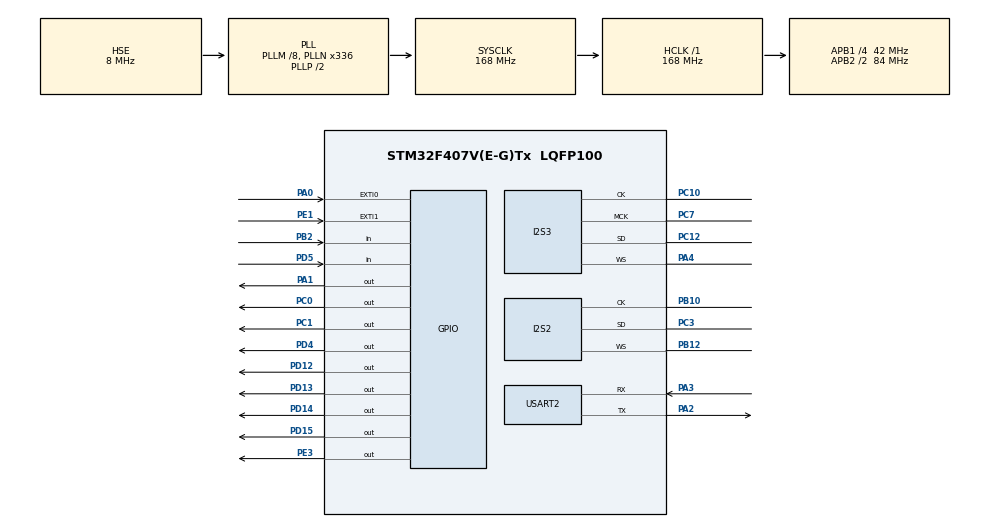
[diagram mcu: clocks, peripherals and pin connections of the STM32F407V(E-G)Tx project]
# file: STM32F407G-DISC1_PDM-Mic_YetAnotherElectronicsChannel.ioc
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Dma.Request0=SPI3_TX
Dma.Request1=SPI2_RX
Dma.SPI2_RX.1.Direction=DMA_PERIPH_TO_MEMORY
Dma.SPI2_RX.1.FIFOMode=DMA_FIFOMODE_DISABLE
Dma.SPI2_RX.1.Instance=DMA1_Stream3
Dma.SPI2_RX.1.MemDataAlignment=DMA_MDATAALIGN_HALFWORD
Dma.SPI2_RX.1.MemInc=DMA_MINC_ENABLE
Dma.SPI2_RX.1.Mode=DMA_CIRCULAR
Dma.SPI2_RX.1.PeriphDataAlignment=DMA_PDATAALIGN_HALFWORD
Dma.SPI2_RX.1.PeriphInc=DMA_PINC_DISABLE
Dma.SPI2_RX.1.Priority=DMA_PRIORITY_LOW
Dma.SPI3_TX.0.Direction=DMA_MEMORY_TO_PERIPH
Dma.SPI3_TX.0.FIFOMode=DMA_FIFOMODE_DISABLE
Dma.SPI3_TX.0.Instance=DMA1_Stream5
Dma.SPI3_TX.0.MemDataAlignment=DMA_MDATAALIGN_WORD
Dma.SPI3_TX.0.MemInc=DMA_MINC_ENABLE
Dma.SPI3_TX.0.Mode=DMA_CIRCULAR
Dma.SPI3_TX.0.PeriphDataAlignment=DMA_PDATAALIGN_WORD
Dma.SPI3_TX.0.PeriphInc=DMA_PINC_DISABLE
Dma.SPI3_TX.0.Priority=DMA_PRIORITY_LOW
I2S2.AudioFreq=I2S_AUDIOFREQ_48K
I2S2.DataFormat=I2S_DATAFORMAT_32B
I2S2.ErrorAudioFreq=0.8 %
I2S2.FullDuplexMode=I2S_FULLDUPLEXMODE_DISABLE
I2S2.Instance=SPI$Index
I2S2.Mode=I2S_MODE_SLAVE_RX
I2S2.RealAudioFreq=48.387 KHz
I2S2.Standard=I2S_STANDARD_MSB
I2S2.VirtualMode=I2S_MODE_SLAVE
I2S3.AudioFreq=I2S_AUDIOFREQ_48K
I2S3.DataFormat=I2S_DATAFORMAT_24B
I2S3.ErrorAudioFreq=-2.34 %
I2S3.FullDuplexMode=I2S_FULLDUPLEXMODE_DISABLE
I2S3.Instance=SPI$Index
I2S3.RealAudioFreq=46.875 KHz
I2S3.VirtualMode=I2S_MODE_MASTER
Mcu.Family=STM32F4
Mcu.Name=STM32F407V(E-G)Tx
Mcu.Package=LQFP100
NVIC.DMA1_Stream3_IRQn=true\:0\:0\:false\:false\:true\:false\:true\:true
NVIC.DMA1_Stream5_IRQn=true\:0\:0\:false\:false\:true\:false\:true\:true
NVIC.PriorityGroup=NVIC_PRIORITYGROUP_0
PA0-WKUP.GPIO_ModeDefaultEXTI=GPIO_MODE_IT_RISING
PA0-WKUP.GPIO_PuPd=GPIO_NOPULL
PA0-WKUP.Signal=GPXTI0
PA1.GPIO_Speed=GPIO_SPEED_FREQ_HIGH
PA1.Signal=GPIO_Output
PA10.GPIO_Mode=GPIO_MODE_AF_PP
PA10.GPIO_PuPd=GPIO_NOPULL
PA10.GPIO_Speed=GPIO_SPEED_FREQ_VERY_HIGH
PA10.Signal=USB_OTG_FS_ID
PA11.GPIO_Mode=GPIO_MODE_AF_PP
PA11.GPIO_PuPd=GPIO_NOPULL
PA11.GPIO_Speed=GPIO_SPEED_FREQ_VERY_HIGH
PA11.Signal=USB_OTG_FS_DM
PA12.GPIO_Mode=GPIO_MODE_AF_PP
PA12.GPIO_PuPd=GPIO_NOPULL
PA12.GPIO_Speed=GPIO_SPEED_FREQ_VERY_HIGH
PA12.Signal=USB_OTG_FS_DP
PA13.Mode=Serial_Wire
PA13.Signal=SYS_JTMS-SWDIO
PA14.Mode=Serial_Wire
PA14.Signal=SYS_JTCK-SWCLK
PA2.Mode=Asynchronous
PA2.Signal=USART2_TX
PA3.Mode=Asynchronous
PA3.Signal=USART2_RX
PA4.GPIO_Mode=GPIO_MODE_AF_PP
PA4.GPIO_PuPd=GPIO_NOPULL
PA4.GPIO_Speed=GPIO_SPEED_FREQ_LOW
PA4.Mode=Half_Duplex_Master
PA4.Signal=I2S3_WS
PA5.GPIO_Mode=GPIO_MODE_AF_PP
PA5.GPIO_PuPd=GPIO_NOPULL
PA5.GPIO_Speed=GPIO_SPEED_FREQ_VERY_HIGH
PA5.Signal=SPI1_SCK
PA6.GPIO_Mode=GPIO_MODE_AF_PP
PA6.GPIO_PuPd=GPIO_NOPULL
PA6.GPIO_Speed=GPIO_SPEED_FREQ_VERY_HIGH
PA6.Signal=SPI1_MISO
PA7.GPIO_Mode=GPIO_MODE_AF_PP
PA7.GPIO_PuPd=GPIO_NOPULL
PA7.GPIO_Speed=GPIO_SPEED_FREQ_VERY_HIGH
PA7.Signal=SPI1_MOSI
PA9.GPIO_Mode=GPIO_MODE_INPUT
PA9.GPIO_PuPd=GPIO_NOPULL
PA9.Signal=USB_OTG_FS_VBUS
PB10.GPIO_Mode=GPIO_MODE_AF_PP
PB10.GPIO_PuPd=GPIO_NOPULL
PB10.GPIO_Speed=GPIO_SPEED_FREQ_LOW
PB10.Mode=Half_Duplex_Slave
PB10.Signal=I2S2_CK
PB12.Mode=Half_Duplex_Slave
PB12.Signal=I2S2_WS
PB2.GPIO_Mode=GPIO_MODE_INPUT
PB2.GPIO_PuPd=GPIO_NOPULL
PB2.Signal=GPIO_Input
PB3.Signal=SYS_JTDO-SWO
PB6.GPIO_Mode=GPIO_MODE_AF_OD
PB6.GPIO_PuPd=GPIO_NOPULL
PB6.GPIO_PuPdOD=GPIO_PULLUP
PB6.GPIO_Speed=GPIO_SPEED_FREQ_VERY_HIGH
PB6.Signal=I2C1_SCL
PB9.GPIO_Mode=GPIO_MODE_AF_OD
PB9.GPIO_PuPd=GPIO_NOPULL
PB9.GPIO_PuPdOD=GPIO_PULLUP
PB9.GPIO_Speed=GPIO_SPEED_FREQ_VERY_HIGH
PB9.Signal=I2C1_SDA
PC0.GPIO_ModeDefaultOutputPP=GPIO_MODE_OUTPUT_PP
PC0.GPIO_PuPd=GPIO_NOPULL
PC0.GPIO_Speed=GPIO_SPEED_FREQ_LOW
PC0.PinState=GPIO_PIN_RESET
PC0.Signal=GPIO_Output
PC1.GPIO_Speed=GPIO_SPEED_FREQ_HIGH
PC1.PinState=GPIO_PIN_SET
PC1.Signal=GPIO_Output
PC10.GPIO_Mode=GPIO_MODE_AF_PP
PC10.GPIO_PuPd=GPIO_NOPULL
PC10.GPIO_Speed=GPIO_SPEED_FREQ_LOW
PC10.Mode=Half_Duplex_Master
PC10.Signal=I2S3_CK
PC12.GPIO_Mode=GPIO_MODE_AF_PP
PC12.GPIO_PuPd=GPIO_NOPULL
PC12.GPIO_Speed=GPIO_SPEED_FREQ_LOW
PC12.Mode=Half_Duplex_Master
PC12.Signal=I2S3_SD
PC14-OSC32_IN.Mode=LSE-External-Oscillator
PC14-OSC32_IN.Signal=RCC_OSC32_IN
PC15-OSC32_OUT.Mode=LSE-External-Oscillator
PC15-OSC32_OUT.Signal=RCC_OSC32_OUT
PC3.GPIO_Mode=GPIO_MODE_AF_PP
PC3.GPIO_PuPd=GPIO_NOPULL
PC3.GPIO_Speed=GPIO_SPEED_FREQ_LOW
PC3.Mode=Half_Duplex_Slave
PC3.Signal=I2S2_SD
PC7.GPIO_Mode=GPIO_MODE_AF_PP
PC7.GPIO_PuPd=GPIO_NOPULL
PC7.GPIO_Speed=GPIO_SPEED_FREQ_LOW
PC7.Mode=Master_Clock_Activated
PC7.Signal=I2S3_MCK
PD12.GPIO_ModeDefaultOutputPP=GPIO_MODE_OUTPUT_PP
PD12.GPIO_PuPd=GPIO_NOPULL
PD12.GPIO_Speed=GPIO_SPEED_FREQ_LOW
PD12.PinState=GPIO_PIN_RESET
PD12.Signal=GPIO_Output
PD13.GPIO_ModeDefaultOutputPP=GPIO_MODE_OUTPUT_PP
PD13.GPIO_PuPd=GPIO_NOPULL
PD13.GPIO_Speed=GPIO_SPEED_FREQ_LOW
PD13.PinState=GPIO_PIN_RESET
PD13.Signal=GPIO_Output
PD14.GPIO_ModeDefaultOutputPP=GPIO_MODE_OUTPUT_PP
PD14.GPIO_PuPd=GPIO_NOPULL
PD14.GPIO_Speed=GPIO_SPEED_FREQ_LOW
PD14.PinState=GPIO_PIN_RESET
PD14.Signal=GPIO_Output
PD15.GPIO_ModeDefaultOutputPP=GPIO_MODE_OUTPUT_PP
PD15.GPIO_PuPd=GPIO_NOPULL
PD15.GPIO_Speed=GPIO_SPEED_FREQ_LOW
PD15.PinState=GPIO_PIN_RESET
PD15.Signal=GPIO_Output
PD4.GPIO_ModeDefaultOutputPP=GPIO_MODE_OUTPUT_PP
PD4.GPIO_PuPd=GPIO_NOPULL
PD4.GPIO_Speed=GPIO_SPEED_FREQ_LOW
PD4.PinState=GPIO_PIN_RESET
PD4.Signal=GPIO_Output
PD5.GPIO_Mode=GPIO_MODE_INPUT
PD5.GPIO_PuPd=GPIO_NOPULL
PD5.Signal=GPIO_Input
PDM2PCM.CHANNEL1_bit_order=PDM_FILTER_BIT_ORDER_LSB
PDM2PCM.CHANNEL1_decimation_factor=PDM_FILTER_DEC_FACTOR_64
PDM2PCM.CHANNEL1_in_ptr_channels=1
PDM2PCM.CHANNEL1_mic_gain=24
PDM2PCM.CHANNEL1_out_ptr_channels=1
PE1.GPIO_ModeDefaultEXTI=GPIO_MODE_IT_RISING
PE1.GPIO_PuPd=GPIO_NOPULL
PE1.Signal=GPXTI1
PE3.GPIO_ModeDefaultOutputPP=GPIO_MODE_OUTPUT_PP
PE3.GPIO_PuPd=GPIO_NOPULL
PE3.GPIO_Speed=GPIO_SPEED_FREQ_LOW
PE3.PinState=GPIO_PIN_RESET
PE3.Signal=GPIO_Output
PH0-OSC_IN.Mode=HSE-External-Oscillator
PH0-OSC_IN.Signal=RCC_OSC_IN
PH1-OSC_OUT.Mode=HSE-External-Oscillator
PH1-OSC_OUT.Signal=RCC_OSC_OUT
ProjectManager.HeapSize=0x200
ProjectManager.StackSize=0x400
ProjectManager.TargetToolchain=STM32CubeIDE
RCC.48MHZClocksFreq_Value=48000000
RCC.AHBFreq_Value=168000000
RCC.APB1CLKDivider=RCC_HCLK_DIV4
RCC.APB1Freq_Value=42000000
RCC.APB1TimFreq_Value=84000000
RCC.APB2CLKDivider=RCC_HCLK_DIV2
RCC.APB2Freq_Value=84000000
RCC.APB2TimFreq_Value=168000000
RCC.CortexFreq_Value=168000000
RCC.HCLKFreq_Value=168000000
RCC.HSE_VALUE=8000000
RCC.HSI_VALUE=16000000
RCC.PLLM=8
RCC.PLLN=336
RCC.PLLQ=7
RCC.PLLSourceVirtual=RCC_PLLSOURCE_HSE
RCC.SYSCLKFreq_VALUE=168000000
RCC.SYSCLKSource=RCC_SYSCLKSOURCE_PLLCLK
RCC.VCOOutputFreq_Value=336000000
USART2.VirtualMode=VM_ASYNC
VP_CRC_VS_CRC.Mode=CRC_Activate
VP_PDM2PCM_VS_PDM2PCM.Mode=PDM2PCM_Channel
board=STM32F4DISCOVERY

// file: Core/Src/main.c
/* USER CODE BEGIN Header */
/**
 ******************************************************************************
 * @file           : main.c
 * @brief          : Main program body
 ******************************************************************************
 * @attention
 *
 * Copyright (c) 2022 STMicroelectronics.
 * All rights reserved.
 *
 * This software is licensed under terms that can be found in the LICENSE file
 * in the root directory of this software component.
 * If no LICENSE file comes with this software, it is provided AS-IS.
 *
 ******************************************************************************
 */
/* USER CODE END Header */
#include "main.h"
#include "pdm2pcm.h"

/* USER CODE BEGIN Includes */

#include <stdio.h>

/* USER CODE END Includes */

CRC_HandleTypeDef hcrc;

I2S_HandleTypeDef hi2s2;
I2S_HandleTypeDef hi2s3;
DMA_HandleTypeDef hdma_spi2_rx;
DMA_HandleTypeDef hdma_spi3_tx;

UART_HandleTypeDef huart2;

/* USER CODE BEGIN PV */

uint32_t txBuf[128];
uint16_t pdmRxBuf[128];
uint16_t MidBuffer[16];
uint8_t txstate = 0;
uint8_t rxstate = 0;

uint16_t fifobuf[256];
uint8_t fifo_w_ptr = 0;
uint8_t fifo_r_ptr = 0;
uint8_t fifo_read_enabled = 0;

/* USER CODE END PV */

void SystemClock_Config(void);
void PeriphCommonClock_Config(void);
static void MX_GPIO_Init(void);
static void MX_DMA_Init(void);
static void MX_I2S2_Init(void);
static void MX_I2S3_Init(void);
static void MX_CRC_Init(void);
static void MX_USART2_UART_Init(void);
/* USER CODE BEGIN PFP */

#define PUTCHAR_PROTOTYPE int __io_putchar(int ch)

void FifoWrite(uint16_t data)
{
	fifobuf[fifo_w_ptr] = data;
	fifo_w_ptr++;
}

uint16_t FifoRead()
{
	uint16_t val = fifobuf[fifo_r_ptr];
	fifo_r_ptr++;
	return val;
}

/* USER CODE END PFP */

int main(void)
{

  /* MCU Configuration--------------------------------------------------------*/

  /* Reset of all peripherals, Initializes the Flash interface and the Systick. */
  HAL_Init();

  /* Configure the system clock */
  SystemClock_Config();

/* Configure the peripherals common clocks */
  PeriphCommonClock_Config();

  /* Initialize all configured peripherals */
  MX_GPIO_Init();
  MX_DMA_Init();
  MX_I2S2_Init();
  MX_I2S3_Init();
  MX_CRC_Init();
  MX_PDM2PCM_Init();
  MX_USART2_UART_Init();
  /* USER CODE BEGIN 2 */

	printf("Starting: STM32F407G-DISC1_PDM-Mic_YetAnotherElectronicsChannel \n");

	HAL_I2S_Transmit_DMA(&hi2s3, (uint16_t *) &txBuf[0], 64);
	HAL_I2S_Receive_DMA(&hi2s2, &pdmRxBuf[0],64);

	printf("Ending:   STM32F407G-DISC1_PDM-Mic_YetAnotherElectronicsChannel \n");

  /* USER CODE END 2 */

  /* Infinite loop */
  /* USER CODE BEGIN WHILE */
	while (1)
	{
		if (rxstate == 1)
		{
			PDM_Filter(&pdmRxBuf[0],&MidBuffer[0], &PDM1_filter_handler);
			for (int i = 0; i < 16; i++)
				FifoWrite(MidBuffer[i]);
			if (fifo_w_ptr-fifo_r_ptr > 128)
				fifo_read_enabled = 1;
			rxstate = 0;
		}

		if (rxstate == 2)
		{
			PDM_Filter(&pdmRxBuf[64],&MidBuffer[0], &PDM1_filter_handler);
			for (int i = 0; i < 16; i++)
				FifoWrite(MidBuffer[i]);
			rxstate = 0;
		}

		if (txstate == 1)
		{
			if (fifo_read_enabled == 1)
			{
				for (int i = 0; i < 64; i = i + 4)
				{
					uint16_t data = FifoRead();
					// txBuf[i] = data << 1; // increase gain 2x
					txBuf[i] = data << 3; // increase gain 8x
					// txBuf[i + 2] = data << 1; // increase gain 2x
					txBuf[i + 2] = data << 3; // increase gain 8x
				}
			}
			txstate = 0;
		}

		if (txstate == 2)
		{
			if (fifo_read_enabled == 1)
			{
				for (int i = 64; i < 128; i = i + 4)
				{
					uint16_t data = FifoRead();
					// txBuf[i] = data << 1; // increase gain 2x
					txBuf[i] = data << 3; // increase gain 8x
					// txBuf[i + 2] = data << 1; // increase gain 2x
					txBuf[i + 2] = data << 3; // increase gain 8x
				}
			}
			txstate = 0;
		}
    /* USER CODE END WHILE */

	}
}

void SystemClock_Config(void)
{
  RCC_OscInitTypeDef RCC_OscInitStruct = {0};
  RCC_ClkInitTypeDef RCC_ClkInitStruct = {0};

  /** Configure the main internal regulator output voltage
  */
  __HAL_RCC_PWR_CLK_ENABLE();
  __HAL_PWR_VOLTAGESCALING_CONFIG(PWR_REGULATOR_VOLTAGE_SCALE1);

  /** Initializes the RCC Oscillators according to the specified parameters
  * in the RCC_OscInitTypeDef structure.
  */
  RCC_OscInitStruct.OscillatorType = RCC_OSCILLATORTYPE_HSE;
  RCC_OscInitStruct.HSEState = RCC_HSE_ON;
  RCC_OscInitStruct.PLL.PLLState = RCC_PLL_ON;
  RCC_OscInitStruct.PLL.PLLSource = RCC_PLLSOURCE_HSE;
  RCC_OscInitStruct.PLL.PLLM = 8;
  RCC_OscInitStruct.PLL.PLLN = 336;
  RCC_OscInitStruct.PLL.PLLP = RCC_PLLP_DIV2;
  RCC_OscInitStruct.PLL.PLLQ = 7;
  if (HAL_RCC_OscConfig(&RCC_OscInitStruct) != HAL_OK)
  {
    Error_Handler();
  }

  /** Initializes the CPU, AHB and APB buses clocks
  */
  RCC_ClkInitStruct.ClockType = RCC_CLOCKTYPE_HCLK|RCC_CLOCKTYPE_SYSCLK
                              |RCC_CLOCKTYPE_PCLK1|RCC_CLOCKTYPE_PCLK2;
  RCC_ClkInitStruct.SYSCLKSource = RCC_SYSCLKSOURCE_PLLCLK;
  RCC_ClkInitStruct.AHBCLKDivider = RCC_SYSCLK_DIV1;
  RCC_ClkInitStruct.APB1CLKDivider = RCC_HCLK_DIV4;
  RCC_ClkInitStruct.APB2CLKDivider = RCC_HCLK_DIV2;

  if (HAL_RCC_ClockConfig(&RCC_ClkInitStruct, FLASH_LATENCY_5) != HAL_OK)
  {
    Error_Handler();
  }
}

void PeriphCommonClock_Config(void)
{
  RCC_PeriphCLKInitTypeDef PeriphClkInitStruct = {0};

  /** Initializes the peripherals clock
  */
  PeriphClkInitStruct.PeriphClockSelection = RCC_PERIPHCLK_I2S;
  PeriphClkInitStruct.PLLI2S.PLLI2SN = 192;
  PeriphClkInitStruct.PLLI2S.PLLI2SR = 2;
  if (HAL_RCCEx_PeriphCLKConfig(&PeriphClkInitStruct) != HAL_OK)
  {
    Error_Handler();
  }
}

static void MX_CRC_Init(void)
{

  hcrc.Instance = CRC;
  if (HAL_CRC_Init(&hcrc) != HAL_OK)
  {
    Error_Handler();
  }
  __HAL_CRC_DR_RESET(&hcrc);

}

static void MX_I2S2_Init(void)
{

  hi2s2.Instance = SPI2;
  hi2s2.Init.Mode = I2S_MODE_SLAVE_RX;
  hi2s2.Init.Standard = I2S_STANDARD_MSB;
  hi2s2.Init.DataFormat = I2S_DATAFORMAT_32B;
  hi2s2.Init.MCLKOutput = I2S_MCLKOUTPUT_DISABLE;
  hi2s2.Init.AudioFreq = I2S_AUDIOFREQ_48K;
  hi2s2.Init.CPOL = I2S_CPOL_LOW;
  hi2s2.Init.ClockSource = I2S_CLOCK_PLL;
  hi2s2.Init.FullDuplexMode = I2S_FULLDUPLEXMODE_DISABLE;
  if (HAL_I2S_Init(&hi2s2) != HAL_OK)
  {
    Error_Handler();
  }

}

static void MX_I2S3_Init(void)
{

  hi2s3.Instance = SPI3;
  hi2s3.Init.Mode = I2S_MODE_MASTER_TX;
  hi2s3.Init.Standard = I2S_STANDARD_PHILIPS;
  hi2s3.Init.DataFormat = I2S_DATAFORMAT_24B;
  hi2s3.Init.MCLKOutput = I2S_MCLKOUTPUT_ENABLE;
  hi2s3.Init.AudioFreq = I2S_AUDIOFREQ_48K;
  hi2s3.Init.CPOL = I2S_CPOL_LOW;
  hi2s3.Init.ClockSource = I2S_CLOCK_PLL;
  hi2s3.Init.FullDuplexMode = I2S_FULLDUPLEXMODE_DISABLE;
  if (HAL_I2S_Init(&hi2s3) != HAL_OK)
  {
    Error_Handler();
  }

}

static void MX_USART2_UART_Init(void)
{

  huart2.Instance = USART2;
  huart2.Init.BaudRate = 115200;
  huart2.Init.WordLength = UART_WORDLENGTH_8B;
  huart2.Init.StopBits = UART_STOPBITS_1;
  huart2.Init.Parity = UART_PARITY_NONE;
  huart2.Init.Mode = UART_MODE_TX_RX;
  huart2.Init.HwFlowCtl = UART_HWCONTROL_NONE;
  huart2.Init.OverSampling = UART_OVERSAMPLING_16;
  if (HAL_UART_Init(&huart2) != HAL_OK)
  {
    Error_Handler();
  }

}

static void MX_DMA_Init(void)
{

  /* DMA controller clock enable */
  __HAL_RCC_DMA1_CLK_ENABLE();

  /* DMA interrupt init */
  /* DMA1_Stream3_IRQn interrupt configuration */
  HAL_NVIC_SetPriority(DMA1_Stream3_IRQn, 0, 0);
  HAL_NVIC_EnableIRQ(DMA1_Stream3_IRQn);
  /* DMA1_Stream5_IRQn interrupt configuration */
  HAL_NVIC_SetPriority(DMA1_Stream5_IRQn, 0, 0);
  HAL_NVIC_EnableIRQ(DMA1_Stream5_IRQn);

}

static void MX_GPIO_Init(void)
{
  GPIO_InitTypeDef GPIO_InitStruct = {0};

  /* GPIO Ports Clock Enable */
  __HAL_RCC_GPIOE_CLK_ENABLE();
  __HAL_RCC_GPIOC_CLK_ENABLE();
  __HAL_RCC_GPIOH_CLK_ENABLE();
  __HAL_RCC_GPIOA_CLK_ENABLE();
  __HAL_RCC_GPIOB_CLK_ENABLE();
  __HAL_RCC_GPIOD_CLK_ENABLE();

  /*Configure GPIO pin Output Level */
  HAL_GPIO_WritePin(GPIOE, GPIO_PIN_3, GPIO_PIN_RESET);

  /*Configure GPIO pin Output Level */
  HAL_GPIO_WritePin(GPIOC, GPIO_PIN_0, GPIO_PIN_RESET);

  /*Configure GPIO pin Output Level */
  HAL_GPIO_WritePin(GPIOC, GPIO_PIN_1, GPIO_PIN_SET);

  /*Configure GPIO pin Output Level */
  HAL_GPIO_WritePin(GPIOA, GPIO_PIN_1, GPIO_PIN_RESET);

  /*Configure GPIO pin Output Level */
  HAL_GPIO_WritePin(GPIOD, GPIO_PIN_12|GPIO_PIN_13|GPIO_PIN_14|GPIO_PIN_15
                          |GPIO_PIN_4, GPIO_PIN_RESET);

  /*Configure GPIO pin : PE3 */
  GPIO_InitStruct.Pin = GPIO_PIN_3;
  GPIO_InitStruct.Mode = GPIO_MODE_OUTPUT_PP;
  GPIO_InitStruct.Pull = GPIO_NOPULL;
  GPIO_InitStruct.Speed = GPIO_SPEED_FREQ_LOW;
  HAL_GPIO_Init(GPIOE, &GPIO_InitStruct);

  /*Configure GPIO pin : PC0 */
  GPIO_InitStruct.Pin = GPIO_PIN_0;
  GPIO_InitStruct.Mode = GPIO_MODE_OUTPUT_PP;
  GPIO_InitStruct.Pull = GPIO_NOPULL;
  GPIO_InitStruct.Speed = GPIO_SPEED_FREQ_LOW;
  HAL_GPIO_Init(GPIOC, &GPIO_InitStruct);

  /*Configure GPIO pin : PC1 */
  GPIO_InitStruct.Pin = GPIO_PIN_1;
  GPIO_InitStruct.Mode = GPIO_MODE_OUTPUT_PP;
  GPIO_InitStruct.Pull = GPIO_NOPULL;
  GPIO_InitStruct.Speed = GPIO_SPEED_FREQ_HIGH;
  HAL_GPIO_Init(GPIOC, &GPIO_InitStruct);

  /*Configure GPIO pin : PA0 */
  GPIO_InitStruct.Pin = GPIO_PIN_0;
  GPIO_InitStruct.Mode = GPIO_MODE_IT_RISING;
  GPIO_InitStruct.Pull = GPIO_NOPULL;
  HAL_GPIO_Init(GPIOA, &GPIO_InitStruct);

  /*Configure GPIO pin : PA1 */
  GPIO_InitStruct.Pin = GPIO_PIN_1;
  GPIO_InitStruct.Mode = GPIO_MODE_OUTPUT_PP;
  GPIO_InitStruct.Pull = GPIO_NOPULL;
  GPIO_InitStruct.Speed = GPIO_SPEED_FREQ_HIGH;
  HAL_GPIO_Init(GPIOA, &GPIO_InitStruct);

  /*Configure GPIO pins : PA5 PA6 PA7 */
  GPIO_InitStruct.Pin = GPIO_PIN_5|GPIO_PIN_6|GPIO_PIN_7;
  GPIO_InitStruct.Mode = GPIO_MODE_AF_PP;
  GPIO_InitStruct.Pull = GPIO_NOPULL;
  GPIO_InitStruct.Speed = GPIO_SPEED_FREQ_VERY_HIGH;
  GPIO_InitStruct.Alternate = GPIO_AF5_SPI1;
  HAL_GPIO_Init(GPIOA, &GPIO_InitStruct);

  /*Configure GPIO pin : PB2 */
  GPIO_InitStruct.Pin = GPIO_PIN_2;
  GPIO_InitStruct.Mode = GPIO_MODE_INPUT;
  GPIO_InitStruct.Pull = GPIO_NOPULL;
  HAL_GPIO_Init(GPIOB, &GPIO_InitStruct);

  /*Configure GPIO pins : PD12 PD13 PD14 PD15
                           PD4 */
  GPIO_InitStruct.Pin = GPIO_PIN_12|GPIO_PIN_13|GPIO_PIN_14|GPIO_PIN_15
                          |GPIO_PIN_4;
  GPIO_InitStruct.Mode = GPIO_MODE_OUTPUT_PP;
  GPIO_InitStruct.Pull = GPIO_NOPULL;
  GPIO_InitStruct.Speed = GPIO_SPEED_FREQ_LOW;
  HAL_GPIO_Init(GPIOD, &GPIO_InitStruct);

  /*Configure GPIO pin : PA9 */
  GPIO_InitStruct.Pin = GPIO_PIN_9;
  GPIO_InitStruct.Mode = GPIO_MODE_INPUT;
  GPIO_InitStruct.Pull = GPIO_NOPULL;
  HAL_GPIO_Init(GPIOA, &GPIO_InitStruct);

  /*Configure GPIO pins : PA10 PA11 PA12 */
  GPIO_InitStruct.Pin = GPIO_PIN_10|GPIO_PIN_11|GPIO_PIN_12;
  GPIO_InitStruct.Mode = GPIO_MODE_AF_PP;
  GPIO_InitStruct.Pull = GPIO_NOPULL;
  GPIO_InitStruct.Speed = GPIO_SPEED_FREQ_VERY_HIGH;
  GPIO_InitStruct.Alternate = GPIO_AF10_OTG_FS;
  HAL_GPIO_Init(GPIOA, &GPIO_InitStruct);

  /*Configure GPIO pin : PD5 */
  GPIO_InitStruct.Pin = GPIO_PIN_5;
  GPIO_InitStruct.Mode = GPIO_MODE_INPUT;
  GPIO_InitStruct.Pull = GPIO_NOPULL;
  HAL_GPIO_Init(GPIOD, &GPIO_InitStruct);

  /*Configure GPIO pins : PB6 PB9 */
  GPIO_InitStruct.Pin = GPIO_PIN_6|GPIO_PIN_9;
  GPIO_InitStruct.Mode = GPIO_MODE_AF_OD;
  GPIO_InitStruct.Pull = GPIO_NOPULL;
  GPIO_InitStruct.Speed = GPIO_SPEED_FREQ_VERY_HIGH;
  GPIO_InitStruct.Alternate = GPIO_AF4_I2C1;
  HAL_GPIO_Init(GPIOB, &GPIO_InitStruct);

  /*Configure GPIO pin : PE1 */
  GPIO_InitStruct.Pin = GPIO_PIN_1;
  GPIO_InitStruct.Mode = GPIO_MODE_IT_RISING;
  GPIO_InitStruct.Pull = GPIO_NOPULL;
  HAL_GPIO_Init(GPIOE, &GPIO_InitStruct);

}

/* USER CODE BEGIN 4 */

void HAL_I2S_TxHalfCpltCallback (I2S_HandleTypeDef *hi2s) {
	txstate = 1;
}

void HAL_I2S_TxCpltCallback (I2S_HandleTypeDef *hi2s) {
	GPIOC->BSRR = (1<<1); // C pin1, set
	txstate = 2;
	GPIOC->BSRR = (1<<(1 + 16)); // C pin1, reset
}

void HAL_I2S_RxHalfCpltCallback (I2S_HandleTypeDef *hi2s) {
	rxstate = 1;
}

void HAL_I2S_RxCpltCallback (I2S_HandleTypeDef *hi2s) {
	GPIOA->BSRR = (1<<1); // A pin1, set
	rxstate = 2;
	GPIOA->BSRR = (1<<(1 + 16)); // A pin1, reset
}

PUTCHAR_PROTOTYPE {
	/* Place your implementation of fputc here */
	/* e.g. write a character to the LPUART1 and Loop until the end of transmission */
	HAL_UART_Transmit(&huart2, (uint8_t*) &ch, 1, 0xFFFF);
	//	HAL_UART_Transmit_DMA(&hlpuart1, (uint8_t*) &ch, 1);

	return ch;
}

/* USER CODE END 4 */

void Error_Handler(void)
{
	__disable_irq();
	while (1)
	{
	}
}
